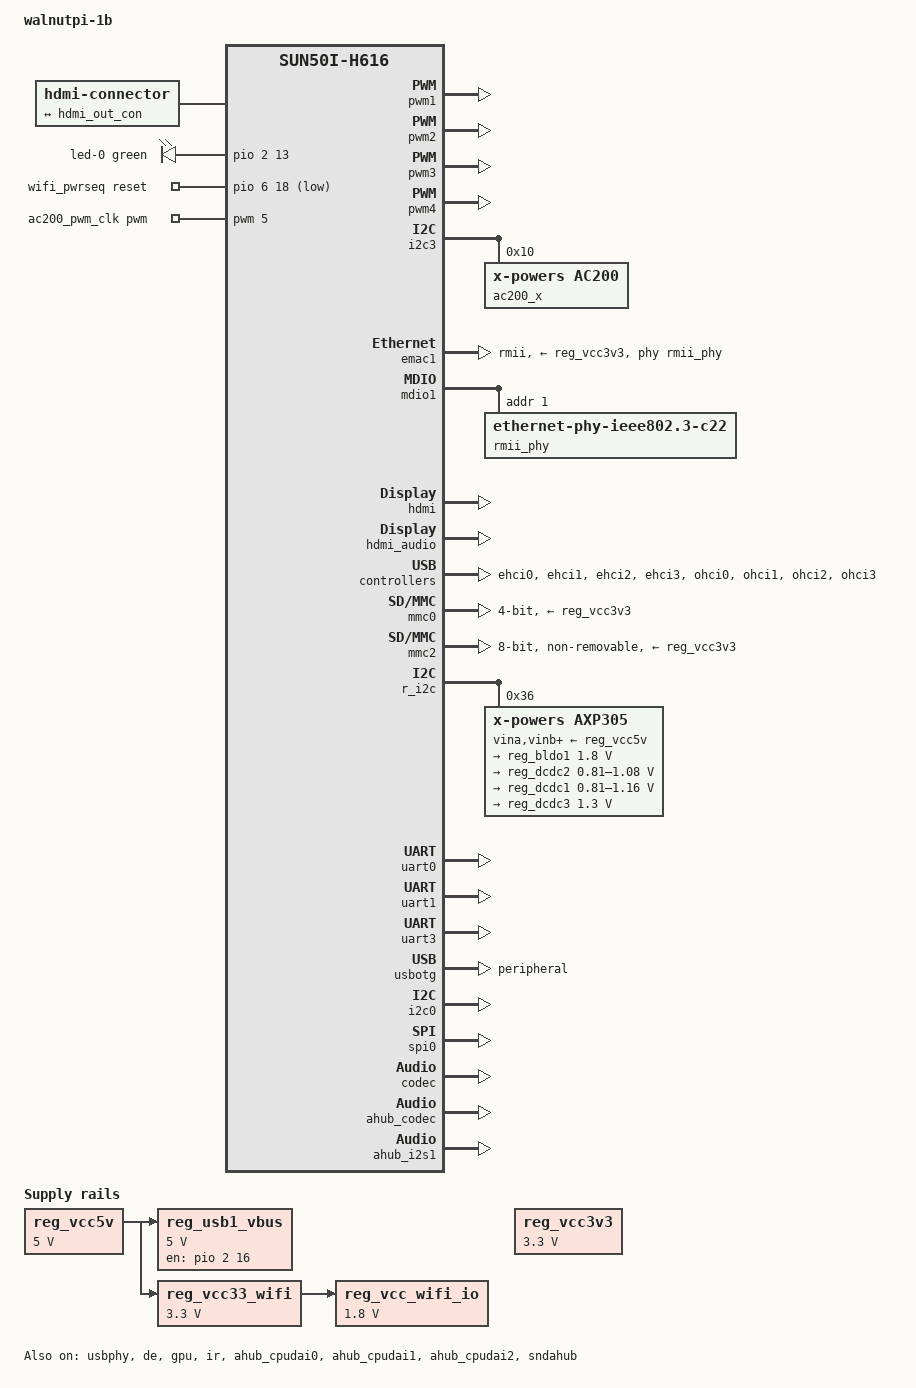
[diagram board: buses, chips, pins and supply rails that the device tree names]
// SPDX-License-Identifier: (GPL-2.0+ or MIT)
/*
 * Copyright (C) 2020 Arm Ltd.
 */

/dts-v1/;

#include "sun50i-h616.dtsi"

#include <dt-bindings/gpio/gpio.h>
#include <dt-bindings/interrupt-controller/arm-gic.h>
#include <dt-bindings/leds/common.h>
#include "sun50i-h616-cpu-opp.dtsi"

/ {
	model = "walnutpi-1b";
	compatible = "allwinner,sun50i-h616";

	aliases {
        ethernet1 = &emac1;
		serial0 = &uart0;
	};

	chosen {
		stdout-path = "serial0:115200n8";
	};

	connector {
		compatible = "hdmi-connector";
		type = "d";

		port {
			hdmi_con_in: endpoint {
				remote-endpoint = <&hdmi_out_con>;
			};
		};
	};

	leds {
		compatible = "gpio-leds";

		led-0 {
			function = LED_FUNCTION_STATUS;
			color = <LED_COLOR_ID_GREEN>;
			gpios = <&pio 2 13 GPIO_ACTIVE_HIGH>; /* PC13 */
			default-state = "on";
		};


	};

	reg_vcc5v: vcc5v {
		/* board wide 5V supply directly from the USB-C socket */
		compatible = "regulator-fixed";
		regulator-name = "vcc-5v";
		regulator-min-microvolt = <5000000>;
		regulator-max-microvolt = <5000000>;
		regulator-always-on;
	};

	reg_vcc3v3: vcc3v3 {
		compatible = "regulator-fixed";
		regulator-name = "vcc-3v3";
		regulator-min-microvolt = <3300000>;
		regulator-max-microvolt = <3300000>;
		regulator-always-on;
	};

	reg_usb1_vbus: usb1-vbus {
		compatible = "regulator-fixed";
		regulator-name = "usb1-vbus";
		regulator-min-microvolt = <5000000>;
		regulator-max-microvolt = <5000000>;
		vin-supply = <&reg_vcc5v>;
		enable-active-high;
		gpio = <&pio 2 16 GPIO_ACTIVE_HIGH>; /* PC16 */
		status = "okay";
	};

	reg_vcc33_wifi: vcc33-wifi {
		/* Always on 3.3V regulator for WiFi and BT */
		compatible = "regulator-fixed";
		regulator-name = "vcc33-wifi";
		regulator-min-microvolt = <3300000>;
		regulator-max-microvolt = <3300000>;
		regulator-always-on;
		vin-supply = <&reg_vcc5v>;
	};

	reg_vcc_wifi_io: vcc-wifi-io {
		/* Always on 1.8V/300mA regulator for WiFi and BT IO */
		compatible = "regulator-fixed";
		regulator-name = "vcc-wifi-io";
		regulator-min-microvolt = <1800000>;
		regulator-max-microvolt = <1800000>;
		regulator-always-on;
		vin-supply = <&reg_vcc33_wifi>;
	};

	wifi_pwrseq: wifi-pwrseq {
		compatible = "mmc-pwrseq-simple";
		clocks = <&rtc 1>;
		clock-names = "osc32k-out";
		reset-gpios = <&pio 6 18 GPIO_ACTIVE_LOW>;  /* PG18 */
		post-power-on-delay-ms = <200>;
	};

    ac200_pwm_clk: ac200_clk {
        compatible = "pwm-clock";
        #clock-cells = <0>;
        // pwm5 period_ns = 500 > 334 for select 24M clock.
        pwms = <&pwm 5 500 1>;
        clock-frequency = <2000000>;
        status = "okay";
	};

	gpu_opp_table: opp-table-1 {
		compatible = "operating-points-v2";

		opp-200000000 {
			opp-hz = /bits/ 64 <200000000>;
			opp-microvolt = <1100000>;
		};
		opp-312000000 {
			opp-hz = /bits/ 64 <312000000>;
			opp-microvolt = <1100000>;
		};
		opp-432000000 {
			opp-hz = /bits/ 64 <432000000>;
			opp-microvolt = <1100000>;
		};
		opp-528000000 {
			opp-hz = /bits/ 64 <528000000>;
			opp-microvolt = <1100000>;
		};
		opp-650000000 {
			opp-hz = /bits/ 64 <650000000>;
			opp-microvolt = <1100000>;
		};
	};
};

&pwm1{
    status = "okay";
};
&pwm2{
    status = "okay";
};
&pwm3{
    status = "okay";
};
&pwm4{
    status = "okay";
};
&pwm5 {
    // clk_bypass_output = 1 for Clock direct output without frequency division
    // so pwm5 output is 24MHz for AC200 & AC300 clock
    clk_bypass_output = <0x1>;
};

&i2c3 {
    status = "okay";
    pinctrl-0 = <&twi3_pins>;

    ac200_x: mfd@10 {
        compatible = "x-powers,ac200";
        reg = <0x10>;
        clocks = <&ac200_pwm_clk>;
        // ephy id
        nvmem-cells = <&ephy_calibration>;
        nvmem-cell-names = "calibration";

        ac200_ephy: phy {
            compatible = "x-powers,ac200-ephy";
            status = "okay";
        };

        ac200_codec: codec {
            #sound-dai-cells = <0>;
            compatible = "x-powers,ac200-codec";
            status = "disabled";
        };
    };
};

&emac1 {
	pinctrl-names = "default";
	pinctrl-0 = <&rmii_pins>;
	phy-mode = "rmii";
	phy-handle = <&rmii_phy>;
	phy-supply = <&reg_vcc3v3>;
	allwinner,rx-delay-ps = <3100>;
	allwinner,tx-delay-ps = <700>;
	status = "okay";
};

&mdio1 {
	rmii_phy: ethernet-phy@1 {
		compatible = "ethernet-phy-ieee802.3-c22";
		reg = <1>;
	};
};

// &emac0 {
// 	pinctrl-names = "default";
// 	pinctrl-0 = <&ext_rgmii_pins>;
// 	phy-mode = "rgmii";
// 	phy-handle = <&ext_rgmii_phy>;
// 	phy-supply = <&reg_vcc3v3>;
// 	allwinner,rx-delay-ps = <3100>;
// 	allwinner,tx-delay-ps = <700>;
//     status = "disabled";
// };

// &mdio0 {
// 	ext_rgmii_phy: ethernet-phy@1 {
// 		compatible = "ethernet-phy-ieee802.3-c22";
// 		reg = <1>;
// 	};
// };

&usbphy {
	usb1_vbus-supply = <&reg_usb1_vbus>;
	status = "okay";
};

&de {
	status = "okay";
};

&hdmi {
	hvcc-supply = <&reg_bldo1>;
	status = "okay";
};

&hdmi_audio {
	status = "okay";
};

&hdmi_out {
	hdmi_out_con: endpoint {
		remote-endpoint = <&hdmi_con_in>;
	};
};

/* USB 2 & 3 are on headers only. */
&gpu {
    mali-supply = <&reg_dcdc3>;
	operating-points-v2 = <&gpu_opp_table>;
        status = "okay";
};

&ehci0 {
	status = "okay";
};

&ehci1 {
	status = "okay";
};

&ehci2 {
	status = "okay";
};

&ehci3 {
	status = "okay";
};

/*------------------------------------*/


&mmc0 {
	vmmc-supply = <&reg_vcc3v3>;
	broken-cd;
	bus-width = <4>;
	max-frequency = <50000000>;
	status = "okay";
};

&mmc1 {
	vmmc-supply = <&reg_vcc33_wifi>;
	vqmmc-supply = <&reg_vcc_wifi_io>;
	mmc-pwrseq = <&wifi_pwrseq>;
	bus-width = <4>;
	non-removable;
	mmc-ddr-1_8v;
	status = "disabled";
};

&mmc2 {
    vmmc-supply = <&reg_vcc3v3>;

    no-1-8-v;
    bus-width = <8>;
    non-removable;
    status = "okay";
};

&ohci0 {
	status = "okay";
};

&ohci1 {
	status = "okay";
};

&ohci2 {
	status = "okay";
};

&ohci3 {
	status = "okay";
};

&r_i2c {
	status = "okay";

	axp305: pmic@36 {
		compatible = "x-powers,axp305", "x-powers,axp805",
			     "x-powers,axp806";
		interrupt-controller;
		#interrupt-cells = <1>;
		reg = <0x36>;

		x-powers,self-working-mode;
		vina-supply = <&reg_vcc5v>;
		vinb-supply = <&reg_vcc5v>;
		vinc-supply = <&reg_vcc5v>;
		vind-supply = <&reg_vcc5v>;
		vine-supply = <&reg_vcc5v>;
		aldoin-supply = <&reg_vcc5v>;
		bldoin-supply = <&reg_vcc5v>;
		cldoin-supply = <&reg_vcc5v>;

		regulators {

			reg_bldo1: bldo1 {
				regulator-always-on;
				regulator-min-microvolt = <1800000>;
				regulator-max-microvolt = <1800000>;
				regulator-name = "vcc1v8";
			};

			reg_dcdc2: dcdc2 {
				regulator-always-on;
				regulator-min-microvolt = <810000>;
				regulator-max-microvolt = <1080000>;
				regulator-name = "vdd-cpu";
			};
			
			reg_dcdc1: dcdc1 {
				regulator-always-on;
				regulator-min-microvolt = <810000>;
				regulator-max-microvolt = <1160000>;
				regulator-name = "vdd-gpu-sys";
			};

			reg_dcdc3: dcdc3 {
				regulator-always-on;
				regulator-min-microvolt = <1300000>;
				regulator-max-microvolt = <1300000>;
				regulator-name = "vdd-dram";
			};

	
			sw {
				/* unused */
			};
		};
	};
};

&cpu0 {
        cpu-supply = <&reg_dcdc2>;
};



&uart0 {
	pinctrl-names = "default";
	pinctrl-0 = <&uart0_ph_pins>;
	status = "okay";
};
&uart1 {
	//未引出，启用只是为了让/dev下的编号顺序正常
	status = "okay";
};
// &uart2 {
// 	pinctrl-names = "default";
// 	pinctrl-0 = <&uart2_ph_pins>;
// 	status = "okay";
// };
&uart3 {
	//未引出，启用只是为了让/dev下的编号顺序正常
	status = "okay";
};
// &uart4 {
// 	pinctrl-names = "default";
// 	pinctrl-0 = <&uart4_ph_pins>;
// 	status = "okay";
// };

&usbotg {
	/*
	 * PHY0 pins are connected to a USB-C socket, but a role switch
	 * is not implemented: both CC pins are pulled to GND.
	 * The VBUS pins power the device, so a fixed peripheral mode
	 * is the best choice.
	 * The board can be powered via GPIOs, in this case port0 *can*
	 * act as a host (with a cable/adapter ignoring CC), as VBUS is
	 * then provided by the GPIOs. Any user of this setup would
	 * need to adjust the DT accordingly: dr_mode set to "host",
	 * enabling OHCI0 and EHCI0.
	 */
	dr_mode = "peripheral";
	status = "okay";
};

&i2c0 {
	//未引出，启用只是为了让/dev下的编号顺序正常
	status = "okay";
};

// &i2c1 {
// 	status = "okay";
// };

// &i2c2 {
// 	status = "okay";
// };


// &i2c4 {
// 	status = "okay";
// };


&ir {
	pinctrl-names = "default";
	pinctrl-0 = <&ir_rx_pin>;
	status = "okay";
};

&spi0  {
	status = "okay";

	// flash@0 {
	// 	#address-cells = <1>;
	// 	#size-cells = <1>;
	// 	compatible = "jedec,spi-nor";
	// 	reg = <0>;
	// 	spi-max-frequency = <40000000>;
	// };

};
&spi1 {
    #address-cells = <1>;
    #size-cells = <0>;
    // status = "okay";

};

&codec {
        allwinner,audio-routing =
                "Line Out", "LINEOUT";
        status = "okay";
};

&ahub_codec {
	status = "okay";
};

&ahub_cpudai0 {
	status = "okay";
};

&ahub_cpudai1 {
	status = "okay";
};

&ahub_cpudai2 {
	status = "okay";
};

&sndahub {
	status = "okay";
};

&ahub_i2s1 {
	status = "okay";
};

